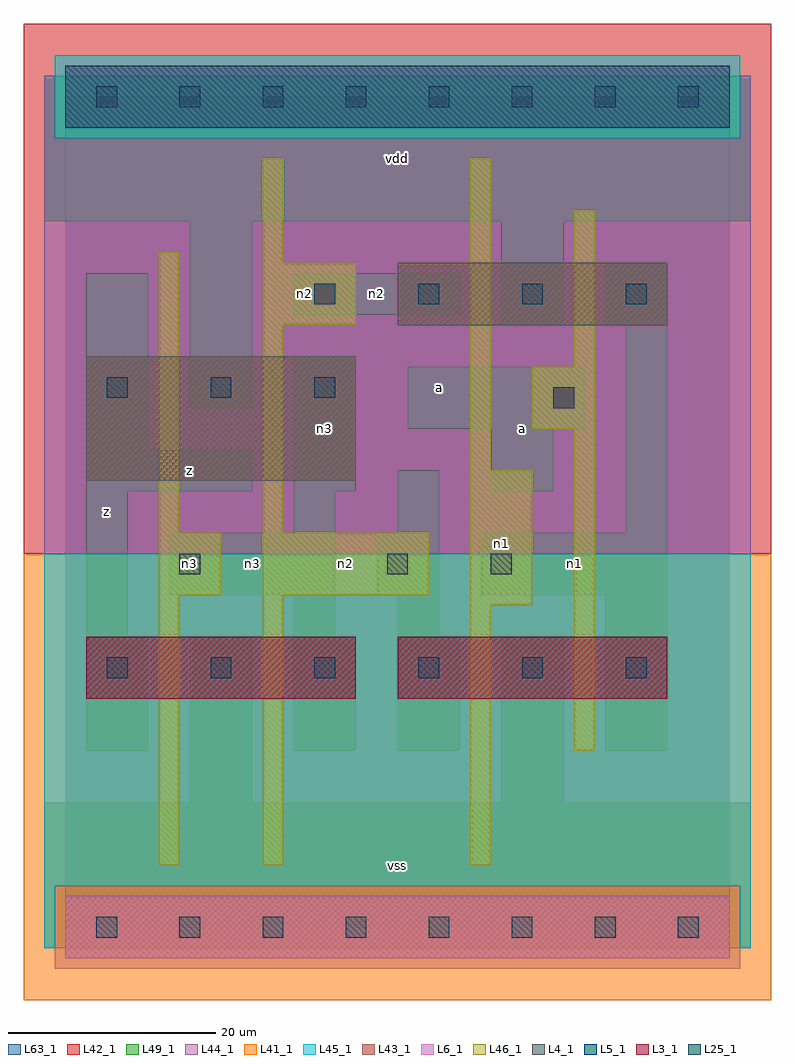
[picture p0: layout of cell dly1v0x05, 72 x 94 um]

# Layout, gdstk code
import gdstk
lib = gdstk.Library(unit=1e-6, precision=1e-09)
def R(c, l, rs):  # rectangles x0, y0, x1, y1
    for r in rs: c.add(gdstk.rectangle(r[:2], r[2:], *l))
def A(c, l, x, y, w, h, nx, ny, dx, dy):  # array of equal rectangles
    R(c, l, [(x+i*dx, y+j*dy, x+i*dx+w, y+j*dy+h) for i in range(nx) for j in range(ny)])
L3_1 = (3, 1)
L4_1 = (4, 1)
L5_1 = (5, 1)
L6_1 = (6, 1)
L25_1 = (25, 1)
L41_1 = (41, 1)
L42_1 = (42, 1)
L43_1 = (43, 1)
L44_1 = (44, 1)
L45_1 = (45, 1)
L46_1 = (46, 1)
L49_1 = (49, 1)
L63_1 = (63, 1)

dly1v0x05 = lib.new_cell('dly1v0x05')
R(dly1v0x05, L3_1, [(2,22,28,28), (32,22,58,28)])
R(dly1v0x05, L4_1, [(2,43,28,55), (32,58,58,64)])
R(dly1v0x05, L5_1, [(0,77,64,83)])
R(dly1v0x05, L6_1, [(0,-3,64,3), (0,-3,64,3)])
A(dly1v0x05, L25_1, 3, -1, 2, 2, 8, 2, 8, 80)
A(dly1v0x05, L25_1, 4, 24, 2, 2, 6, 1, 10, 0)
A(dly1v0x05, L25_1, 4, 51, 2, 2, 3, 1, 10, 0)
A(dly1v0x05, L25_1, 24, 60, 2, 2, 4, 1, 10, 0)
R(dly1v0x05, L25_1, [(11,34,13,36), (31,34,33,36), (41,34,43,36), (47,50,49,52)])
R(dly1v0x05, L41_1, [(-4,-7,68,36)])
R(dly1v0x05, L42_1, [(-4,36,68,87)])
R(dly1v0x05, L43_1, [(0,-3,64,3), (2,22,28,28), (32,22,58,28), (2,43,28,55), (32,58,58,64), (0,77,64,83)])
R(dly1v0x05, L44_1, [(-1,-4,65,4), (-2,36,66,76), (-2,76,-1,82), (65,76,66,82)])
R(dly1v0x05, L45_1, [(-2,-2,-1,4), (65,-2,66,4), (-2,4,66,36), (-1,76,65,84)])
R(dly1v0x05, L46_1, [(9,6,11,32), (19,6,21,32), (39,6,41,31), (49,17,51,48), (39,31,45,44), (9,32,15,38), (19,32,35,38), (9,38,11,65), (19,38,21,58), (39,44,41,74), (45,48,51,54), (49,54,51,69), (19,58,28,64), (19,64,21,74)])
R(dly1v0x05, L49_1, [(-2,-2,66,12), (12,12,18,28), (42,12,48,28), (2,17,8,28), (22,17,28,28), (32,17,38,28), (52,17,58,32), (2,28,6,42), (22,28,26,32), (32,28,36,32), (10,32,26,38), (30,32,36,38), (40,32,58,38), (22,38,26,42), (32,38,36,44), (54,38,58,58), (2,42,18,46), (22,42,28,55), (41,42,47,48), (2,46,8,63), (33,48,50,54), (12,50,18,68), (42,58,48,68), (52,58,58,64), (22,59,38,63), (-2,68,66,82)])
R(dly1v0x05, L63_1, [(0,0,64,80)])
dly1v0x05.add(gdstk.Label('n3', (12,35), layer=49, texttype=1))
dly1v0x05.add(gdstk.Label('n2', (27,35), layer=46, texttype=1))
dly1v0x05.add(gdstk.Label('n2', (23,61), layer=46, texttype=1))
dly1v0x05.add(gdstk.Label('n1', (42,37), layer=46, texttype=1))
dly1v0x05.add(gdstk.Label('z', (4,40), layer=49, texttype=1))
dly1v0x05.add(gdstk.Label('z', (12,44), layer=49, texttype=1))
dly1v0x05.add(gdstk.Label('vss', (32,6), layer=49, texttype=1))
dly1v0x05.add(gdstk.Label('n3', (18,35), layer=49, texttype=1))
dly1v0x05.add(gdstk.Label('a', (36,52), layer=49, texttype=1))
dly1v0x05.add(gdstk.Label('n3', (25,48), layer=49, texttype=1))
dly1v0x05.add(gdstk.Label('n2', (30,61), layer=49, texttype=1))
dly1v0x05.add(gdstk.Label('vdd', (32,74), layer=49, texttype=1))
dly1v0x05.add(gdstk.Label('a', (44,48), layer=49, texttype=1))
dly1v0x05.add(gdstk.Label('n1', (49,35), layer=49, texttype=1))

lib.write_gds('dly1v0x05.gds')
